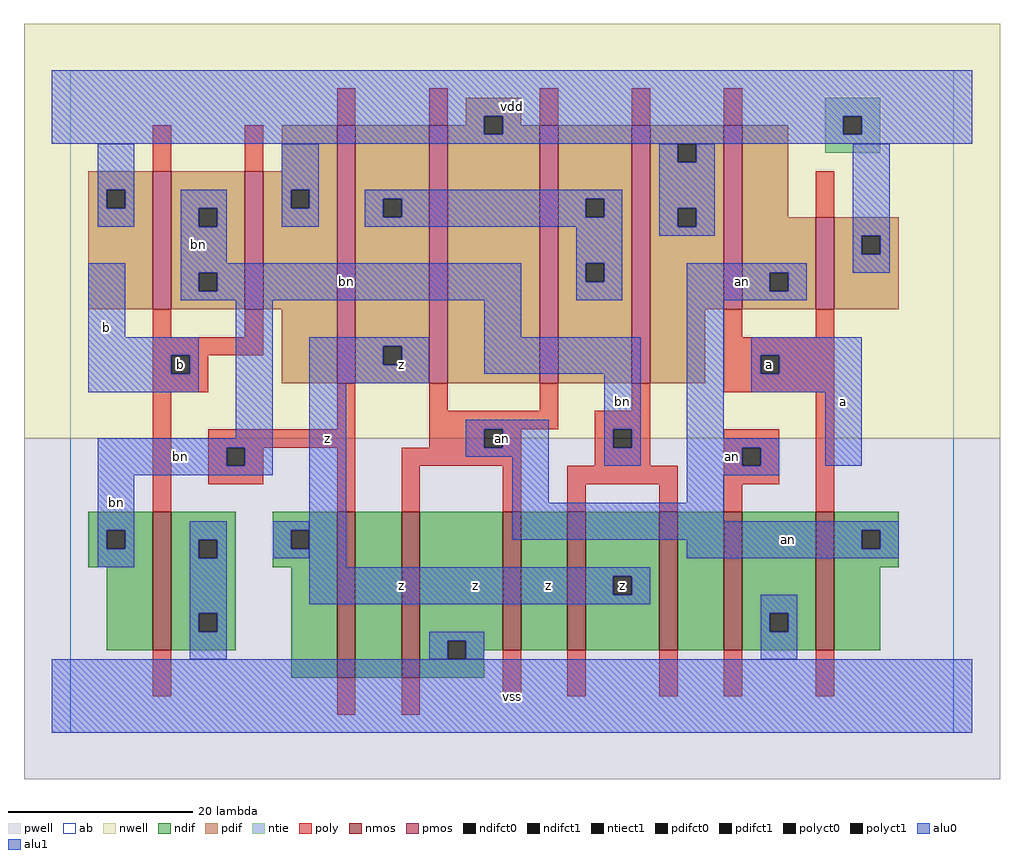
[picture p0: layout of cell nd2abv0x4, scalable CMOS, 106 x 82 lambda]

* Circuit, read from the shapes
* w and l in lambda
.subckt nd2abv0x4 a an b bn vdd vss z
M1 vss b bn VSUBS nfet w=15 l=2
M2 n1 bn z VSUBS nfet w=18 l=2
M3 vss an n1 VSUBS nfet w=18 l=2
M4 n2 an vss VSUBS nfet w=15 l=2
M5 z bn n2 VSUBS nfet w=15 l=2
M6 n3 bn z VSUBS nfet w=15 l=2
M7 vss an n3 VSUBS nfet w=15 l=2
M8 an a vss VSUBS nfet w=15 l=2
M9 bn b vdd vdd pfet w=15 l=2 m=2
M10 z bn vdd vdd pfet w=28 l=2 m=2
M11 vdd an z vdd pfet w=28 l=2 m=2
M12 an a vdd vdd pfet w=20 l=2
M13 vdd a an vdd pfet w=10 l=2
.ends

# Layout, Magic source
magic
tech scmos
<< ab >>
rect 0 0 96 72
<< nwell >>
rect -5 32 101 77
<< pwell >>
rect -5 -5 101 32
<< poly >>
rect 29 66 31 70
rect 39 66 41 70
rect 9 61 11 66
rect 19 61 21 66
rect 9 43 11 46
rect 19 43 21 46
rect 9 41 21 43
rect 9 39 11 41
rect 13 39 15 41
rect 9 37 15 39
rect 51 66 53 70
rect 61 66 63 70
rect 71 66 73 70
rect 81 56 83 61
rect 71 43 73 46
rect 81 43 83 46
rect 71 41 83 43
rect 71 39 75 41
rect 77 39 83 41
rect 9 24 11 37
rect 29 33 31 38
rect 15 31 31 33
rect 39 35 41 38
rect 51 35 53 38
rect 61 35 63 38
rect 71 37 83 39
rect 39 33 53 35
rect 57 33 63 35
rect 39 31 45 33
rect 47 31 49 33
rect 15 29 17 31
rect 19 29 21 31
rect 15 27 21 29
rect 29 24 31 31
rect 36 29 49 31
rect 57 31 59 33
rect 61 31 63 33
rect 57 29 63 31
rect 71 31 77 33
rect 71 29 73 31
rect 75 29 77 31
rect 36 24 38 29
rect 47 24 49 29
rect 54 27 66 29
rect 54 24 56 27
rect 64 24 66 27
rect 71 27 77 29
rect 71 24 73 27
rect 81 24 83 37
rect 9 4 11 9
rect 29 2 31 6
rect 36 2 38 6
rect 47 4 49 9
rect 54 4 56 9
rect 64 4 66 9
rect 71 4 73 9
rect 81 4 83 9
<< ndif >>
rect 2 22 9 24
rect 2 20 4 22
rect 6 20 9 22
rect 2 18 9 20
rect 4 9 9 18
rect 11 21 18 24
rect 11 19 14 21
rect 16 19 18 21
rect 11 13 18 19
rect 22 22 29 24
rect 22 20 24 22
rect 26 20 29 22
rect 22 18 29 20
rect 11 11 14 13
rect 16 11 18 13
rect 11 9 18 11
rect 24 6 29 18
rect 31 6 36 24
rect 38 10 47 24
rect 38 8 41 10
rect 43 9 47 10
rect 49 9 54 24
rect 56 17 64 24
rect 56 15 59 17
rect 61 15 64 17
rect 56 9 64 15
rect 66 9 71 24
rect 73 13 81 24
rect 73 11 76 13
rect 78 11 81 13
rect 73 9 81 11
rect 83 22 90 24
rect 83 20 86 22
rect 88 20 90 22
rect 83 18 90 20
rect 83 9 88 18
rect 43 8 45 9
rect 38 6 45 8
<< pdif >>
rect 43 67 49 69
rect 43 66 45 67
rect 23 61 29 66
rect 2 59 9 61
rect 2 57 4 59
rect 6 57 9 59
rect 2 46 9 57
rect 11 57 19 61
rect 11 55 14 57
rect 16 55 19 57
rect 11 50 19 55
rect 11 48 14 50
rect 16 48 19 50
rect 11 46 19 48
rect 21 59 29 61
rect 21 57 24 59
rect 26 57 29 59
rect 21 46 29 57
rect 23 38 29 46
rect 31 58 39 66
rect 31 56 34 58
rect 36 56 39 58
rect 31 42 39 56
rect 31 40 34 42
rect 36 40 39 42
rect 31 38 39 40
rect 41 65 45 66
rect 47 66 49 67
rect 47 65 51 66
rect 41 38 51 65
rect 53 58 61 66
rect 53 56 56 58
rect 58 56 61 58
rect 53 51 61 56
rect 53 49 56 51
rect 58 49 61 51
rect 53 38 61 49
rect 63 64 71 66
rect 63 62 66 64
rect 68 62 71 64
rect 63 57 71 62
rect 63 55 66 57
rect 68 55 71 57
rect 63 46 71 55
rect 73 56 78 66
rect 73 50 81 56
rect 73 48 76 50
rect 78 48 81 50
rect 73 46 81 48
rect 83 54 90 56
rect 83 52 86 54
rect 88 52 90 54
rect 83 46 90 52
rect 63 38 69 46
<< alu1 >>
rect -2 67 98 72
rect -2 65 45 67
rect 47 65 84 67
rect 86 65 98 67
rect -2 64 98 65
rect 2 43 6 51
rect 2 41 14 43
rect 2 39 11 41
rect 13 39 14 41
rect 2 37 14 39
rect 26 42 39 43
rect 26 40 34 42
rect 36 40 39 42
rect 26 38 39 40
rect 26 18 30 38
rect 74 41 86 43
rect 74 39 75 41
rect 77 39 86 41
rect 74 37 86 39
rect 82 29 86 37
rect 26 17 63 18
rect 26 15 59 17
rect 61 15 63 17
rect 26 14 63 15
rect -2 0 98 8
<< ntie >>
rect 82 67 88 69
rect 82 65 84 67
rect 86 65 88 67
rect 82 63 88 65
<< nmos >>
rect 9 9 11 24
rect 29 6 31 24
rect 36 6 38 24
rect 47 9 49 24
rect 54 9 56 24
rect 64 9 66 24
rect 71 9 73 24
rect 81 9 83 24
<< pmos >>
rect 9 46 11 61
rect 19 46 21 61
rect 29 38 31 66
rect 39 38 41 66
rect 51 38 53 66
rect 61 38 63 66
rect 71 46 73 66
rect 81 46 83 56
<< polyct0 >>
rect 45 31 47 33
rect 17 29 19 31
rect 59 31 61 33
rect 73 29 75 31
<< polyct1 >>
rect 11 39 13 41
rect 75 39 77 41
<< ndifct0 >>
rect 4 20 6 22
rect 14 19 16 21
rect 24 20 26 22
rect 14 11 16 13
rect 41 8 43 10
rect 76 11 78 13
rect 86 20 88 22
<< ndifct1 >>
rect 59 15 61 17
<< ntiect1 >>
rect 84 65 86 67
<< pdifct0 >>
rect 4 57 6 59
rect 14 55 16 57
rect 14 48 16 50
rect 24 57 26 59
rect 34 56 36 58
rect 56 56 58 58
rect 56 49 58 51
rect 66 62 68 64
rect 66 55 68 57
rect 76 48 78 50
rect 86 52 88 54
<< pdifct1 >>
rect 34 40 36 42
rect 45 65 47 67
<< alu0 >>
rect 3 59 7 64
rect 23 59 27 64
rect 64 62 66 64
rect 68 62 70 64
rect 3 57 4 59
rect 6 57 7 59
rect 3 55 7 57
rect 12 57 17 59
rect 12 55 14 57
rect 16 55 17 57
rect 23 57 24 59
rect 26 57 27 59
rect 23 55 27 57
rect 32 58 60 59
rect 32 56 34 58
rect 36 56 56 58
rect 58 56 60 58
rect 32 55 60 56
rect 12 51 17 55
rect 55 51 60 55
rect 64 57 70 62
rect 64 55 66 57
rect 68 55 70 57
rect 64 54 70 55
rect 85 54 89 64
rect 85 52 86 54
rect 88 52 89 54
rect 12 50 49 51
rect 12 48 14 50
rect 16 48 49 50
rect 12 47 49 48
rect 55 49 56 51
rect 58 49 60 51
rect 55 47 60 49
rect 67 50 80 51
rect 85 50 89 52
rect 67 48 76 50
rect 78 48 80 50
rect 67 47 80 48
rect 18 32 22 47
rect 45 43 49 47
rect 3 31 22 32
rect 3 29 17 31
rect 19 29 22 31
rect 3 28 22 29
rect 45 39 62 43
rect 3 22 7 28
rect 3 20 4 22
rect 6 20 7 22
rect 3 18 7 20
rect 13 21 17 23
rect 13 19 14 21
rect 16 19 17 21
rect 22 22 26 23
rect 22 20 24 22
rect 22 19 26 20
rect 13 13 17 19
rect 43 33 52 34
rect 43 31 45 33
rect 47 31 52 33
rect 43 30 52 31
rect 48 25 52 30
rect 58 33 62 39
rect 58 31 59 33
rect 61 31 62 33
rect 58 29 62 31
rect 67 32 71 47
rect 67 31 77 32
rect 67 29 73 31
rect 75 29 77 31
rect 67 28 77 29
rect 67 25 71 28
rect 48 23 71 25
rect 48 22 90 23
rect 48 21 86 22
rect 67 20 86 21
rect 88 20 90 22
rect 67 19 90 20
rect 13 11 14 13
rect 16 11 17 13
rect 75 13 79 15
rect 75 11 76 13
rect 78 11 79 13
rect 13 8 17 11
rect 39 10 45 11
rect 39 8 41 10
rect 43 8 45 10
rect 75 8 79 11
<< labels >>
rlabel alu0 5 25 5 25 6 bn
rlabel alu0 12 30 12 30 6 bn
rlabel alu0 14 53 14 53 6 bn
rlabel alu0 47 32 47 32 6 an
rlabel alu0 60 36 60 36 6 bn
rlabel alu0 30 49 30 49 6 bn
rlabel alu0 78 21 78 21 6 an
rlabel alu0 72 30 72 30 6 an
rlabel alu0 73 49 73 49 6 an
rlabel polyct1 12 40 12 40 6 b
rlabel alu1 4 44 4 44 6 b
rlabel alu1 44 16 44 16 6 z
rlabel alu1 36 16 36 16 6 z
rlabel alu1 28 32 28 32 6 z
rlabel alu1 36 40 36 40 6 z
rlabel alu1 48 4 48 4 6 vss
rlabel ndifct1 60 16 60 16 6 z
rlabel alu1 52 16 52 16 6 z
rlabel alu1 48 68 48 68 6 vdd
rlabel alu1 84 36 84 36 6 a
rlabel polyct1 76 40 76 40 6 a
<< end >>
